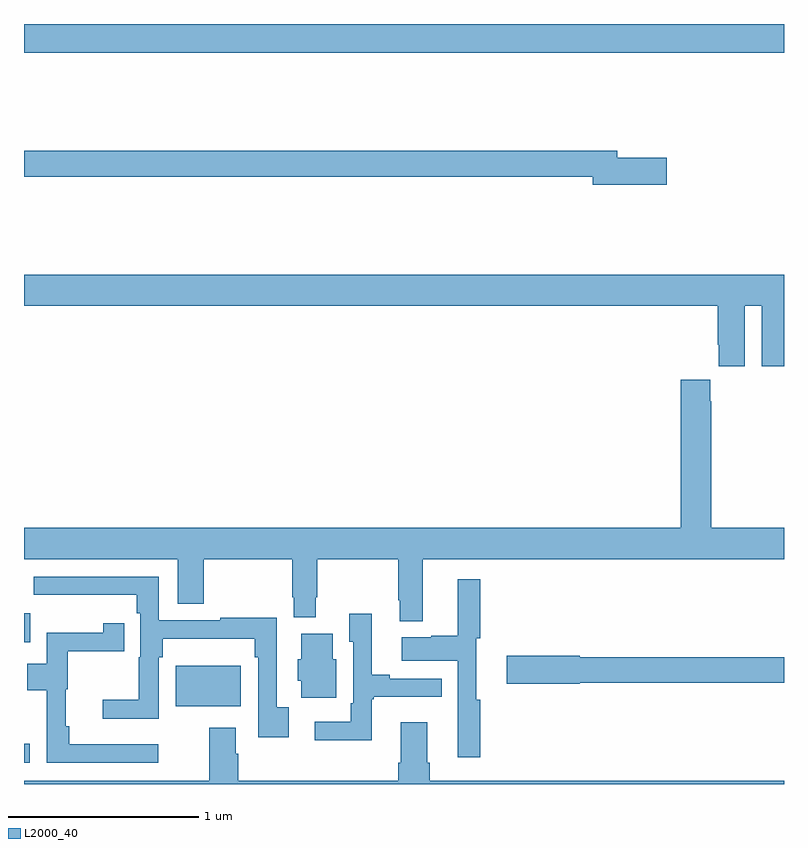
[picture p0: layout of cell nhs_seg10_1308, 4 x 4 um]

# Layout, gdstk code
import gdstk
lib = gdstk.Library(unit=1e-6, precision=1e-09)
def R(c, l, rs):  # rectangles x0, y0, x1, y1
    for r in rs: c.add(gdstk.rectangle(r[:2], r[2:], *l))
def P(c, l, *ps):  # polygons
    for p in ps: c.add(gdstk.Polygon(p, *l))
L2000_40 = (2000, 40)

nhs_seg10_1308 = lib.new_cell('nhs_seg10_1308')
R(nhs_seg10_1308, L2000_40, [(179,1264.611,179.029,1264.712), (179.798,1264.91,180.142,1265.122), (179,1265.246,179.032,1265.398), (179,1268.348,183,1268.5)])
P(nhs_seg10_1308, L2000_40, [(182.383,1267.796),(182.122,1267.796),(182.122,1267.832),(179,1267.832),(179,1267.696),(181.994,1267.696),(181.994,1267.654),(182.383,1267.654)],
  [(182.794,1267.016),(182.882,1267.016),(182.882,1266.699),(183,1266.699),(183,1267.18),(179,1267.18),(179,1267.016),(182.651,1267.016),(182.651,1266.811),(182.657,1266.811),(182.657,1266.699),(182.794,1266.699)],
  [(181.099,1265.684),(183,1265.684),(183,1265.848),(182.616,1265.848),(182.616,1266.515),(182.611,1266.515),(182.611,1266.628),(182.456,1266.628),(182.456,1265.848),(179,1265.848),(179,1265.684),(179.81,1265.684),(179.81,1265.448),(179.946,1265.448),(179.946,1265.684),(180.412,1265.684),(180.412,1265.482),(180.419,1265.482),(180.419,1265.377),(180.535,1265.377),(180.535,1265.482),(180.543,1265.482),(180.543,1265.684),(180.97,1265.684),(180.97,1265.467),(180.977,1265.467),(180.977,1265.357),(181.099,1265.357)],
  [(180.394,1264.905),(180.33,1264.905),(180.33,1265.374),(180.034,1265.374),(180.034,1265.361),(179.709,1265.361),(179.709,1265.592),(179.052,1265.592),(179.052,1265.495),(179.593,1265.495),(179.593,1265.399),(179.613,1265.399),(179.613,1265.168),(179.603,1265.168),(179.603,1264.944),(179.415,1264.944),(179.415,1264.844),(179.709,1264.844),(179.709,1265.168),(179.729,1265.168),(179.729,1265.264),(180.214,1265.264),(180.214,1265.168),(180.234,1265.168),(180.234,1264.746),(180.394,1264.746)],
  [(181.4,1264.943),(181.381,1264.943),(181.381,1265.268),(181.4,1265.268),(181.4,1265.578),(181.283,1265.578),(181.283,1265.28),(181.143,1265.28),(181.143,1265.272),(180.987,1265.272),(180.987,1265.15),(181.284,1265.15),(181.284,1264.907),(181.283,1264.907),(181.283,1264.641),(181.4,1264.641)],
  [(180.829,1264.947),(180.841,1264.947),(180.841,1264.958),(181.199,1264.958),(181.199,1265.055),(180.925,1265.055),(180.925,1265.075),(180.829,1265.075),(180.829,1265.395),(180.713,1265.395),(180.713,1265.25),(180.732,1265.25),(180.732,1264.924),(180.72,1264.924),(180.72,1264.827),(180.531,1264.827),(180.531,1264.73),(180.829,1264.73)],
  [(179.707,1264.708),(179.237,1264.708),(179.237,1264.804),(179.219,1264.804),(179.219,1264.998),(179.23,1264.998),(179.23,1265.198),(179.528,1265.198),(179.528,1265.347),(179.417,1265.347),(179.417,1265.297),(179.121,1265.297),(179.121,1265.134),(179.018,1265.134),(179.018,1264.994),(179.121,1264.994),(179.121,1264.611),(179.707,1264.611)],
  [(180.643,1265.157),(180.625,1265.157),(180.625,1265.292),(180.458,1265.292),(180.458,1265.157),(180.44,1265.157),(180.44,1265.043),(180.459,1265.043),(180.459,1264.953),(180.643,1264.953)],
  [(181.926,1265.032),(183,1265.032),(183,1265.168),(181.926,1265.168),(181.926,1265.174),(181.542,1265.174),(181.542,1265.027),(181.926,1265.027)],
  [(183,1264.516),(181.136,1264.516),(181.136,1264.612),(181.123,1264.612),(181.123,1264.825),(180.983,1264.825),(180.983,1264.612),(180.971,1264.612),(180.971,1264.516),(180.128,1264.516),(180.128,1264.658),(180.115,1264.658),(180.115,1264.795),(179.975,1264.795),(179.975,1264.516),(179,1264.516),(179,1264.5),(183,1264.5)])

lib.write_gds('nhs_seg10_1308.gds')
